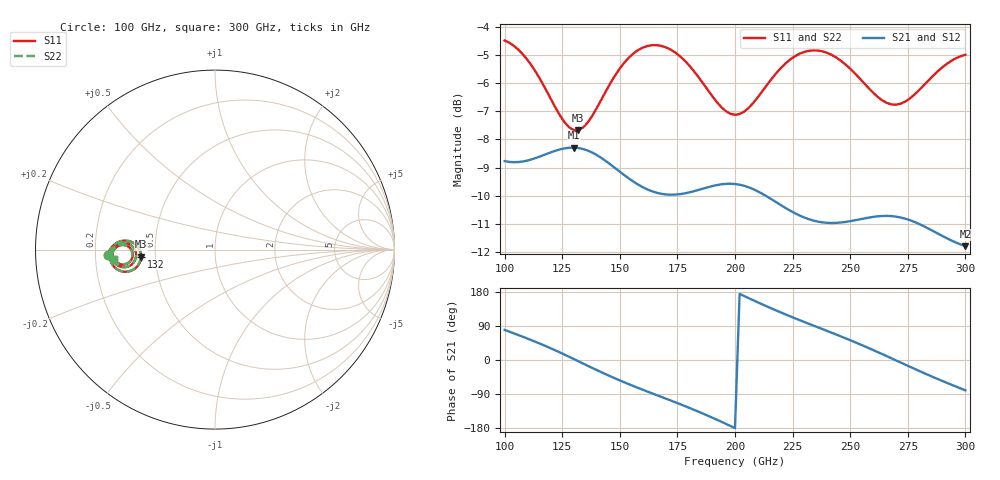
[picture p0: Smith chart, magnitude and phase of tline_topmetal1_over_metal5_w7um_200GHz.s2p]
#  GHZ S DB R 50
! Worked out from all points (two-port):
!   101 points, 100 GHz to 300 GHz, reference 50 ohm
!   highest |S21| = -8.29 dB at 130 GHz (marker M1); lowest = -11.8 dB at 300 GHz (marker M2)
!   |S21| within 3 dB of the highest: start of sweep to 286.8 GHz
!   lowest |S11| = -7.7 dB at 132 GHz (marker M3), VSWR 2.41, Z = 20.8 - j1.96 ohm
!   |S11| at or under -10 dB: nowhere
!   |S22| runs from -7.6 to -4.5 dB; largest |S21 - S12| = 4.3e-14
!   S11 on the Smith chart (normalised r, x): 100 GHz: 0.25, -0.02; 132 GHz: 0.42, -0.04; 300 GHz: 0.28, -0.04
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100  -4.48 -177.1  -8.77 79.4  -8.77 79.4  -4.47 -177.0
116  -5.95 174.3  -8.59 41.4  -8.59 41.4  -5.92 174.4
124  -7.14 176.6  -8.36 19.9  -8.36 19.9  -7.11 176.7
130  -7.67 -177.1  -8.29 2.7  -8.29 2.7  -7.63 -177.1
132  -7.67 -174.6  -8.31 -3.2  -8.31 -3.2  -7.63 -174.6
134  -7.58 -172.2  -8.34 -9.1  -8.34 -9.1  -7.54 -172.2
142  -6.58 -166.2  -8.66 -32.2  -8.66 -32.2  -6.56 -166.2
150  -5.48 -166.8  -9.15 -53.8  -9.15 -53.8  -5.46 -166.9
158  -4.82 -171.0  -9.61 -73.8  -9.61 -73.8  -4.81 -171.0
168  -4.68 -177.4  -9.93 -97.3  -9.93 -97.3  -4.67 -177.4
184  -5.77 175.8  -9.80 -136.0  -9.80 -136.0  -5.76 175.8
192  -6.66 177.3  -9.63 -157.3  -9.63 -157.3  -6.65 177.3
200  -7.13 -176.7  -9.58 -179.8  -9.58 -179.8  -7.11 -176.7
208  -6.70 -170.6  -9.77 157.5  -9.77 157.5  -6.68 -170.6
216  -5.84 -168.9  -10.14 135.6  -10.14 135.6  -5.83 -168.9
224  -5.16 -171.1  -10.54 115.1  -10.54 115.1  -5.15 -171.1
234  -4.84 -176.0  -10.88 90.9  -10.88 90.9  -4.82 -176.0
252  -5.65 177.2  -10.88 47.2  -10.88 47.2  -5.62 177.2
268  -6.76 -177.6  -10.73 4.2  -10.73 4.2  -6.72 -177.7
276  -6.54 -172.7  -10.87 -18.1  -10.87 -18.1  -6.50 -172.9
284  -5.90 -170.7  -11.17 -39.7  -11.17 -39.7  -5.88 -170.9
300  -4.99 -174.7  -11.79 -80.0  -11.79 -80.0  -4.98 -174.9
